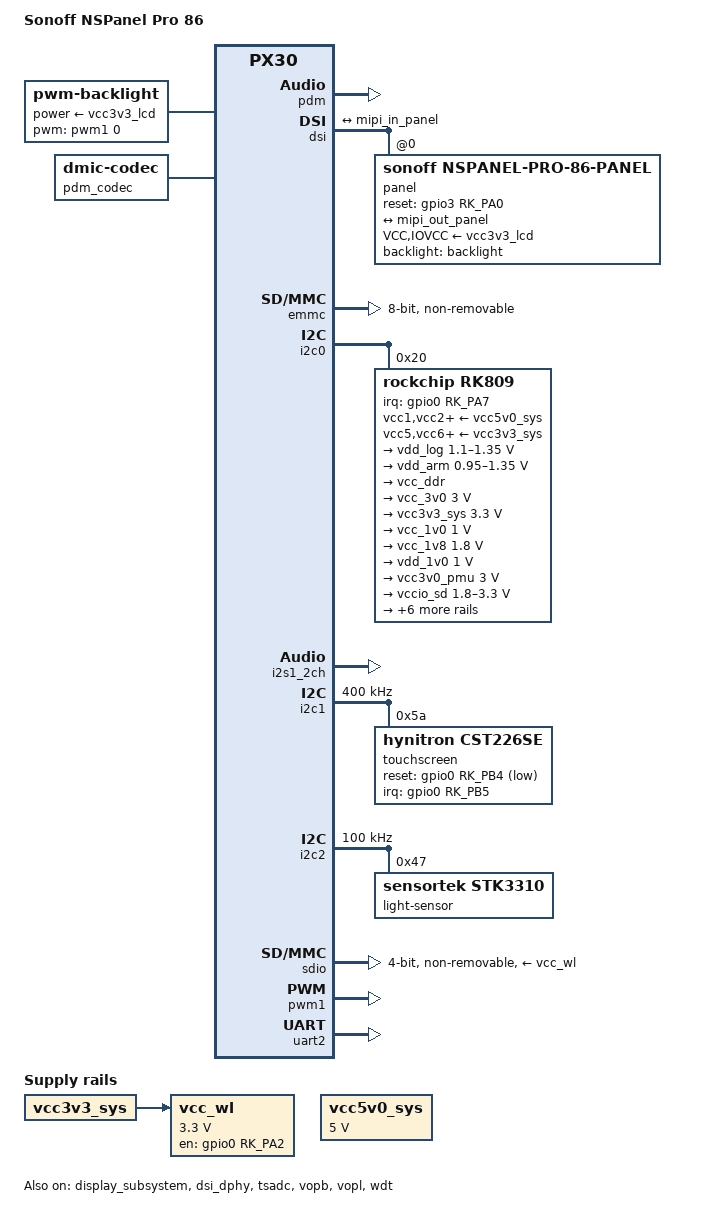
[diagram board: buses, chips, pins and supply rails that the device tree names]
// SPDX-License-Identifier: (GPL-2.0+ OR MIT)
/*
 * Sonoff NSPanel Pro, 86-box variant (Rockchip PX30, board ST-PX30-T6E).
 *
 * Based on px30-evb.dts. Board values (regulator voltages, panel, pins) come
 * from the stock vendor device tree; see docs/hardware.md in this repository.
 *
 * Bring-up stage 1: boot, eMMC, display (ST7701S over MIPI-DSI), backlight,
 * ramoops at the same place as the stock kernel. Touch, Wi-Fi, sensors and
 * audio follow in later stages.
 */

/dts-v1/;
#include <dt-bindings/gpio/gpio.h>
#include <dt-bindings/input/input.h>
#include <dt-bindings/pinctrl/rockchip.h>
#include "px30.dtsi"

/ {
	model = "Sonoff NSPanel Pro 86";
	compatible = "sonoff,nspanel-pro-86", "rockchip,px30";

	aliases {
		mmc0 = &emmc;
		mmc1 = &sdio;
	};

	chosen {
		stdout-path = "serial2:1500000n8";
	};

	reserved-memory {
		#address-cells = <2>;
		#size-cells = <2>;
		ranges;

		/* Same region and layout as the stock kernel, so either side can read the other's log. */
		ramoops@110000 {
			compatible = "ramoops";
			reg = <0x0 0x110000 0x0 0xf0000>;
			record-size = <0x20000>;
			console-size = <0x80000>;
			ftrace-size = <0x0>;
			pmsg-size = <0x50000>;
		};
	};

	backlight: backlight {
		compatible = "pwm-backlight";
		pwms = <&pwm1 0 25000 0>;
		power-supply = <&vcc3v3_lcd>;
		/*
		 * 1000 levels: the PWM runs at 100 MHz (2500 steps per 25 us period),
		 * so fades at the dark end (down to 0.8 %) stay smooth.
		 */
		brightness-levels = <0 1000>;
		num-interpolated-steps = <1000>;
		/* 70.6 %, as the bootloader logo (180 of 255) and S20backlight. */
		default-brightness-level = <706>;
	};

	/*
	 * RTL8723DS enable line (WL_REG_ON, GPIO0_A2, high = on), described as
	 * the card's supply. GPIO0 sits in the PMU domain and keeps its level
	 * across a warm (PSCI) restart, so the module could stay powered with
	 * its old firmware running; rtw88 then fails with "failed to dump efuse
	 * logical map". As a regulator it is switched off at probe and kept off
	 * for at least off-on-delay before the MMC core powers the card up.
	 */
	vcc_wl: regulator-vcc-wl {
		compatible = "regulator-fixed";
		regulator-name = "vcc_wl";
		regulator-min-microvolt = <3300000>;
		regulator-max-microvolt = <3300000>;
		gpio = <&gpio0 RK_PA2 GPIO_ACTIVE_HIGH>;
		enable-active-high;
		pinctrl-names = "default";
		pinctrl-0 = <&wifi_enable_h>;
		off-on-delay-us = <200000>;
		startup-delay-us = <100000>;
		vin-supply = <&vcc3v3_sys>;
	};

	vcc5v0_sys: regulator-vcc5v0-sys {
		compatible = "regulator-fixed";
		regulator-name = "vcc5v0_sys";
		regulator-always-on;
		regulator-boot-on;
		regulator-min-microvolt = <5000000>;
		regulator-max-microvolt = <5000000>;
	};

	/*
	 * Audio: RK809 codec on I2S1 (2-channel). The codec's "Playback Mux"
	 * control selects HP or SPK; the built-in speaker is on SPK (codec class
	 * D), HP is not connected to it (measured with the panel microphones,
	 * docs/bringup.md test boot 14). The codec input is NOT a microphone: it
	 * carries the speaker signal back as the echo-cancellation reference
	 * (stock "adc-for-loopback"; measured, docs/bringup.md test boot 13).
	 * The stock firmware reads it through the PDM controller (codec data out
	 * in PDM mode on GPIO2_C5); mainline reads the same pin as I2S1 SDI.
	 */
	sound {
		compatible = "simple-audio-card";
		simple-audio-card,name = "rk809";
		simple-audio-card,format = "i2s";
		simple-audio-card,mclk-fs = <256>;
		simple-audio-card,widgets =
			"Microphone", "Mic",
			"Headphone", "Headphones",
			"Speaker", "Speaker";
		simple-audio-card,routing =
			"MICL", "Mic",
			"Headphones", "HPOL",
			"Headphones", "HPOR",
			"Speaker", "SPKO";

		simple-audio-card,codec {
			sound-dai = <&rk809>;
		};

		simple-audio-card,cpu {
			sound-dai = <&i2s1_2ch>;
		};
	};

	/*
	 * Microphones: the stock voice HAL (AISpeech, "AEC_ch4-2-ch2_1ref")
	 * captures through the SoC PDM controller (PCM "ff0a0000.pdm-rk817-hifi").
	 * Measured (docs/bringup.md, test boot 14): the microphones are on PDM
	 * data line 1 (GPIO3_D0, channels 2 and 3); lines 2 and 3 read zero.
	 * Data line 0 shares GPIO2_C5 with the I2S1 SDI used above (the codec's
	 * echo reference). Which clock output feeds the microphones is not
	 * known yet, so both are muxed. px30.dtsi has no PDM node; values from
	 * the stock DT.
	 */
	pdm: pdm@ff0a0000 {
		compatible = "rockchip,px30-pdm";
		reg = <0x0 0xff0a0000 0x0 0x1000>;
		clocks = <&cru SCLK_PDM>, <&cru HCLK_PDM>;
		clock-names = "pdm_clk", "pdm_hclk";
		dmas = <&dmac 24>;
		dma-names = "rx";
		resets = <&cru SRST_PDM>;
		reset-names = "pdm-m";
		pinctrl-names = "default";
		pinctrl-0 = <&pdm_clk0m1 &pdm_clk1 &pdm_sdi1 &pdm_sdi2 &pdm_sdi3>;
		#sound-dai-cells = <0>;
	};

	pdm_codec: pdm-codec {
		compatible = "dmic-codec";
		num-channels = <8>;
		#sound-dai-cells = <0>;
	};

	pdm-sound {
		compatible = "simple-audio-card";
		simple-audio-card,name = "pdm-mics";

		simple-audio-card,cpu {
			sound-dai = <&pdm>;
		};

		simple-audio-card,codec {
			sound-dai = <&pdm_codec>;
		};
	};
};

&cpu0 {
	cpu-supply = <&vdd_arm>;
};

&cpu1 {
	cpu-supply = <&vdd_arm>;
};

&cpu2 {
	cpu-supply = <&vdd_arm>;
};

&cpu3 {
	cpu-supply = <&vdd_arm>;
};

&display_subsystem {
	status = "okay";
};

&dsi {
	#address-cells = <1>;
	#size-cells = <0>;
	status = "okay";

	ports {
		mipi_out: port@1 {
			reg = <1>;

			mipi_out_panel: endpoint {
				remote-endpoint = <&mipi_in_panel>;
			};
		};
	};

	panel@0 {
		compatible = "sonoff,nspanel-pro-86-panel";
		reg = <0>;
		backlight = <&backlight>;
		VCC-supply = <&vcc3v3_lcd>;
		IOVCC-supply = <&vcc3v3_lcd>;
		/*
		 * The pin is active low in hardware, but the st7701 driver drives
		 * it as "1 = out of reset", so it is described as active high.
		 */
		reset-gpios = <&gpio3 RK_PA0 GPIO_ACTIVE_HIGH>;

		port {
			mipi_in_panel: endpoint {
				remote-endpoint = <&mipi_out_panel>;
			};
		};
	};
};

&dsi_dphy {
	status = "okay";
};

&emmc {
	bus-width = <8>;
	cap-mmc-highspeed;
	non-removable;
	status = "okay";
};

&i2c0 {
	status = "okay";

	rk809: pmic@20 {
		compatible = "rockchip,rk809";
		reg = <0x20>;
		interrupt-parent = <&gpio0>;
		interrupts = <RK_PA7 IRQ_TYPE_LEVEL_LOW>;
		pinctrl-names = "default";
		pinctrl-0 = <&pmic_int>, <&i2s1_2ch_mclk>;
		/* Codec master clock: I2S1 MCLK out (GPIO2_C3). */
		clocks = <&cru SCLK_I2S1_OUT>;
		clock-names = "mclk";
		#sound-dai-cells = <0>;
		/*
		 * No "system-power-controller": with it, the RK809 driver registers
		 * a PMIC restart handler (DEV_RST) above PSCI, which resets the PMU
		 * GRF and loses the reboot-mode flag, so "reboot recovery" and
		 * "reboot loader" would end up in a normal boot. Restart therefore
		 * goes through PSCI, like the stock kernel.
		 */
		wakeup-source;
		#clock-cells = <0>;
		clock-output-names = "xin32k";

		vcc1-supply = <&vcc5v0_sys>;
		vcc2-supply = <&vcc5v0_sys>;
		vcc3-supply = <&vcc5v0_sys>;
		vcc4-supply = <&vcc5v0_sys>;
		vcc5-supply = <&vcc3v3_sys>;
		vcc6-supply = <&vcc3v3_sys>;
		vcc7-supply = <&vcc3v3_sys>;
		vcc8-supply = <&vcc3v3_sys>;
		vcc9-supply = <&vcc5v0_sys>;

		/* Voltages copied from the stock vendor device tree. */
		regulators {
			vdd_log: DCDC_REG1 {
				regulator-name = "vdd_log";
				regulator-min-microvolt = <1100000>;
				regulator-max-microvolt = <1350000>;
				regulator-ramp-delay = <6001>;
				regulator-always-on;
				regulator-boot-on;
			};

			vdd_arm: DCDC_REG2 {
				regulator-name = "vdd_arm";
				regulator-min-microvolt = <950000>;
				regulator-max-microvolt = <1350000>;
				regulator-ramp-delay = <6001>;
				regulator-always-on;
				regulator-boot-on;
			};

			vcc_ddr: DCDC_REG3 {
				regulator-name = "vcc_ddr";
				regulator-always-on;
				regulator-boot-on;
			};

			vcc_3v0: DCDC_REG4 {
				regulator-name = "vcc_3v0";
				regulator-min-microvolt = <3000000>;
				regulator-max-microvolt = <3000000>;
				regulator-always-on;
				regulator-boot-on;
			};

			vcc3v3_sys: DCDC_REG5 {
				regulator-name = "vcc3v3_sys";
				regulator-min-microvolt = <3300000>;
				regulator-max-microvolt = <3300000>;
				regulator-always-on;
				regulator-boot-on;
			};

			vcc_1v0: LDO_REG1 {
				regulator-name = "vcc_1v0";
				regulator-min-microvolt = <1000000>;
				regulator-max-microvolt = <1000000>;
				regulator-always-on;
				regulator-boot-on;
			};

			vcc_1v8: LDO_REG2 {
				regulator-name = "vcc_1v8";
				regulator-min-microvolt = <1800000>;
				regulator-max-microvolt = <1800000>;
				regulator-always-on;
				regulator-boot-on;
			};

			vdd_1v0: LDO_REG3 {
				regulator-name = "vdd_1v0";
				regulator-min-microvolt = <1000000>;
				regulator-max-microvolt = <1000000>;
				regulator-always-on;
				regulator-boot-on;
			};

			vcc3v0_pmu: LDO_REG4 {
				regulator-name = "vcc3v0_pmu";
				regulator-min-microvolt = <3000000>;
				regulator-max-microvolt = <3000000>;
				regulator-always-on;
				regulator-boot-on;
			};

			vccio_sd: LDO_REG5 {
				regulator-name = "vccio_sd";
				regulator-min-microvolt = <1800000>;
				regulator-max-microvolt = <3300000>;
				regulator-always-on;
				regulator-boot-on;
			};

			vcc_sd: LDO_REG6 {
				regulator-name = "vcc_sd";
				regulator-min-microvolt = <3300000>;
				regulator-max-microvolt = <3300000>;
			};

			vcc2v8_dvp: LDO_REG7 {
				regulator-name = "vcc2v8_dvp";
				regulator-min-microvolt = <3300000>;
				regulator-max-microvolt = <3300000>;
				regulator-always-on;
				regulator-boot-on;
			};

			vcc1v8_dvp: LDO_REG8 {
				regulator-name = "vcc1v8_dvp";
				regulator-min-microvolt = <1800000>;
				regulator-max-microvolt = <1800000>;
				regulator-always-on;
				regulator-boot-on;
			};

			vcc1v5_dvp: LDO_REG9 {
				regulator-name = "vcc1v5_dvp";
				regulator-min-microvolt = <3000000>;
				regulator-max-microvolt = <3000000>;
				regulator-always-on;
				regulator-boot-on;
			};

			vcc5v0_host: SWITCH_REG1 {
				regulator-name = "vcc5v0_host";
				regulator-always-on;
				regulator-boot-on;
			};

			vcc3v3_lcd: SWITCH_REG2 {
				regulator-name = "vcc3v3_lcd";
				regulator-boot-on;
			};
		};

		/* Stock DT: differential microphone input. */
		rk809_codec: codec {
			rockchip,mic-in-differential;
		};
	};
};

&i2s1_2ch {
	status = "okay";
};

/*
 * Touch: Hynitron CST226SE. INT GPIO0_B5, RST GPIO0_B4 (stock DT).
 * Needs kernel/patches/0002 (CST3xx commands, no bootloader step).
 */
&i2c1 {
	clock-frequency = <400000>;
	status = "okay";

	touchscreen@5a {
		compatible = "hynitron,cst226se";
		reg = <0x5a>;
		interrupt-parent = <&gpio0>;
		interrupts = <RK_PB5 IRQ_TYPE_LEVEL_LOW>;
		reset-gpios = <&gpio0 RK_PB4 GPIO_ACTIVE_LOW>;
		touchscreen-size-x = <480>;
		touchscreen-size-y = <480>;
		/* Measured: the controller's X runs along the screen's Y and vice versa. */
		touchscreen-swapped-x-y;
	};
};

/*
 * Ambient light + proximity: Sensortek STK3x3x at 0x47 (stock DT, polled by
 * the stock firmware). The stock DT also lists a second-source STK3A5X at 0x46
 * (not fitted on this unit) and an unknown vendor device "smatek,tp" at 0x3c.
 * Proximity interrupt line (unused for now): GPIO3_C0, active low.
 */
&i2c2 {
	clock-frequency = <100000>;
	i2c-scl-falling-time-ns = <50>;
	i2c-scl-rising-time-ns = <300>;
	status = "okay";

	light-sensor@47 {
		compatible = "sensortek,stk3310";
		reg = <0x47>;
	};
};

&pinctrl {
	pmic {
		pmic_int: pmic-int {
			rockchip,pins = <0 RK_PA7 RK_FUNC_GPIO &pcfg_pull_up>;
		};
	};

	sdio-pwrseq {
		wifi_enable_h: wifi-enable-h {
			rockchip,pins = <0 RK_PA2 RK_FUNC_GPIO &pcfg_pull_none>;
		};
	};
};

/* Wi-Fi: Realtek RTL8723DS. High speed only for now (no UHS voltage switching). */
&sdio {
	bus-width = <4>;
	cap-sd-highspeed;
	cap-sdio-irq;
	keep-power-in-suspend;
	non-removable;
	vmmc-supply = <&vcc_wl>;
	status = "okay";
};

&pwm1 {
	status = "okay";
};

&tsadc {
	/* CRU reset on overheat: the SoC resets itself, no PMIC wiring needed. */
	rockchip,hw-tshut-mode = <0>;
	rockchip,hw-tshut-temp = <120000>;
	status = "okay";
};

&uart2 {
	pinctrl-names = "default";
	pinctrl-0 = <&uart2m0_xfer>;
	status = "okay";
};

&vopb {
	status = "okay";
};

&vopb_mmu {
	status = "okay";
};

&vopl {
	status = "okay";
};

&vopl_mmu {
	status = "okay";
};

/*
 * The chain loader in front of the kernel (tools/chainload) starts this
 * watchdog when this node is enabled; the kernel then keeps it fed until user
 * space takes over. A boot that hangs before that resets the panel.
 */
&wdt {
	status = "okay";
};
